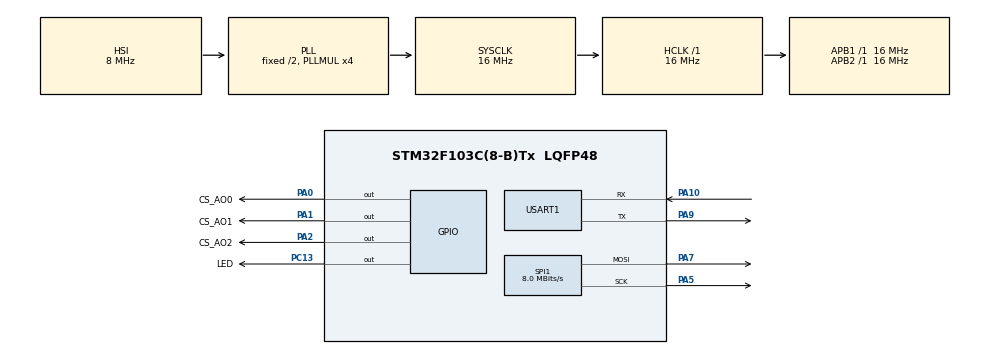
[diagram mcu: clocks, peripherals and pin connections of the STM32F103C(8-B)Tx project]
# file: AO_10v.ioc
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Mcu.Family=STM32F1
Mcu.Name=STM32F103C(8-B)Tx
Mcu.Package=LQFP48
NVIC.PriorityGroup=NVIC_PRIORITYGROUP_4
NVIC.USART1_IRQn=true\:0\:0\:false\:false\:true\:true\:true
PA0-WKUP.GPIO_Label=CS_AO0
PA0-WKUP.Signal=GPIO_Output
PA1.GPIO_Label=CS_AO1
PA1.Signal=GPIO_Output
PA10.Mode=Asynchronous
PA10.Signal=USART1_RX
PA13.Mode=Serial_Wire
PA13.Signal=SYS_JTMS-SWDIO
PA14.Mode=Serial_Wire
PA14.Signal=SYS_JTCK-SWCLK
PA2.GPIO_Label=CS_AO2
PA2.Signal=GPIO_Output
PA5.Mode=TX_Only_Simplex_Unidirect_Master
PA5.Signal=SPI1_SCK
PA7.Mode=TX_Only_Simplex_Unidirect_Master
PA7.Signal=SPI1_MOSI
PA9.Mode=Asynchronous
PA9.Signal=USART1_TX
PC13-TAMPER-RTC.GPIO_Label=LED
PC13-TAMPER-RTC.Signal=GPIO_Output
PD0-OSC_IN.Mode=HSE-External-Oscillator
PD0-OSC_IN.Signal=RCC_OSC_IN
PD1-OSC_OUT.Mode=HSE-External-Oscillator
PD1-OSC_OUT.Signal=RCC_OSC_OUT
ProjectManager.HeapSize=0x200
ProjectManager.StackSize=0x400
ProjectManager.TargetToolchain=Makefile
RCC.AHBFreq_Value=16000000
RCC.APB1Freq_Value=16000000
RCC.APB1TimFreq_Value=16000000
RCC.APB2Freq_Value=16000000
RCC.APB2TimFreq_Value=16000000
RCC.HCLKFreq_Value=16000000
RCC.PLLMUL=RCC_PLL_MUL4
RCC.SYSCLKFreq_VALUE=16000000
RCC.SYSCLKSource=RCC_SYSCLKSOURCE_PLLCLK
RCC.USBFreq_Value=16000000
SPI1.CalculateBaudRate=8.0 MBits/s
SPI1.DataSize=SPI_DATASIZE_16BIT
SPI1.Direction=SPI_DIRECTION_2LINES
SPI1.Mode=SPI_MODE_MASTER
SPI1.VirtualType=VM_MASTER
USART1.VirtualMode=VM_ASYNC
board=custom

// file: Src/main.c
/* USER CODE BEGIN Header */
/**
 ******************************************************************************
 * @file           : main.c
 * @brief          : Main program body
 ******************************************************************************
 * @attention
 *
 * Copyright (c) 2022 STMicroelectronics.
 * All rights reserved.
 *
 * This software is licensed under terms that can be found in the LICENSE file
 * in the root directory of this software component.
 * If no LICENSE file comes with this software, it is provided AS-IS.
 *
 ******************************************************************************
 */
/* USER CODE END Header */
#include "main.h"

#include "gpio.h"
#include "spi.h"
#include "usart.h"

/* USER CODE BEGIN Includes */
#include "console.h"
#include "dac.h"
#include "stdint.h"
#include "stdlib.h"
/* USER CODE END Includes */

/* USER CODE BEGIN PV */
uint8_t text[] =
    "This firmware control voltage on output DAC \n\
Settings: 115200 Baud, NL (new line) \n\
Channel names: ao0 ao1 ao2 \n\
Range output voltage: 0-10v \n\
Examples of commands: \n\
ao0 5.54 \n\
ao1 0 \n\
ao2 10 \n\
///////////////////END/////////////////////\n\n\
ao0 0\nao1 0\nao2 0\n";
/* USER CODE END PV */

/* Private function prototypes
   -----------------------------------------------*/
void SystemClock_Config(void);

/* USER CODE BEGIN 0 */
uint8_t buf[20] = {0};
uint8_t num_symbol = 0;

void HAL_UART_RxCpltCallback(UART_HandleTypeDef *huart) {
    if (buf[num_symbol] == '\n') {
        num_symbol = 0;
        if (buf_decode(buf, sizeof(buf)) == 0) {
            uint8_t x = 0;
            for (x; x < 20; x++) {
                if (buf[x] == '\n') {
                    x += 1;
                    break;
                }
            }
            HAL_UART_Transmit_IT(&huart1, buf, x);
            // HAL_UART_Transmit_IT(&huart1, "  ok\n", 5);
        } else
            HAL_UART_Transmit_IT(&huart1, "ERROR\n", 6);
    } else
        num_symbol++;

    if (num_symbol == 18) num_symbol = 0;

    HAL_UART_Receive_IT(&huart1, buf + num_symbol, 1);
}
/* USER CODE END 0 */

int main(void) {

    /* MCU
     * Configuration--------------------------------------------------------*/

    /* Reset of all peripherals, Initializes the Flash interface and the
     * Systick. */
    HAL_Init();

    /* Configure the system clock */
    SystemClock_Config();

    /* Initialize all configured peripherals */
    MX_GPIO_Init();
    MX_SPI1_Init();
    MX_USART1_UART_Init();
    /* USER CODE BEGIN 2 */
    HAL_GPIO_WritePin(LED_GPIO_Port, LED_Pin, GPIO_PIN_SET);

    /* USER CODE END 2 */
    HAL_UART_Transmit_IT(&huart1, text, sizeof(text));
    buf[19] = '\n';

    HAL_GPIO_WritePin(CS_AO0_GPIO_Port, CS_AO0_Pin, GPIO_PIN_SET);
    HAL_GPIO_WritePin(CS_AO1_GPIO_Port, CS_AO1_Pin, GPIO_PIN_SET);
    HAL_GPIO_WritePin(CS_AO2_GPIO_Port, CS_AO2_Pin, GPIO_PIN_SET);

    dac_set_voltage(0, 0);
    dac_set_voltage(1, 0);
    dac_set_voltage(2, 0);

    HAL_UART_Receive_IT(&huart1, buf + num_symbol, 1);
    /* Infinite loop */
    while (1) {
        //      HAL_UART_Transmit(&huart1, hui, 5, 1);
        HAL_Delay(300);
    }
}

void SystemClock_Config(void) {
    RCC_OscInitTypeDef RCC_OscInitStruct = {0};
    RCC_ClkInitTypeDef RCC_ClkInitStruct = {0};

    /** Initializes the RCC Oscillators according to the specified parameters
     * in the RCC_OscInitTypeDef structure.
     */
    RCC_OscInitStruct.OscillatorType = RCC_OSCILLATORTYPE_HSI;
    RCC_OscInitStruct.HSIState = RCC_HSI_ON;
    RCC_OscInitStruct.HSICalibrationValue = RCC_HSICALIBRATION_DEFAULT;
    RCC_OscInitStruct.PLL.PLLState = RCC_PLL_ON;
    RCC_OscInitStruct.PLL.PLLSource = RCC_PLLSOURCE_HSI_DIV2;
    RCC_OscInitStruct.PLL.PLLMUL = RCC_PLL_MUL4;
    if (HAL_RCC_OscConfig(&RCC_OscInitStruct) != HAL_OK) {
        Error_Handler();
    }
    /** Initializes the CPU, AHB and APB buses clocks
     */
    RCC_ClkInitStruct.ClockType = RCC_CLOCKTYPE_HCLK | RCC_CLOCKTYPE_SYSCLK |
                                  RCC_CLOCKTYPE_PCLK1 | RCC_CLOCKTYPE_PCLK2;
    RCC_ClkInitStruct.SYSCLKSource = RCC_SYSCLKSOURCE_PLLCLK;
    RCC_ClkInitStruct.AHBCLKDivider = RCC_SYSCLK_DIV1;
    RCC_ClkInitStruct.APB1CLKDivider = RCC_HCLK_DIV1;
    RCC_ClkInitStruct.APB2CLKDivider = RCC_HCLK_DIV1;

    if (HAL_RCC_ClockConfig(&RCC_ClkInitStruct, FLASH_LATENCY_0) != HAL_OK) {
        Error_Handler();
    }
}

void Error_Handler(void) {
    /* USER CODE BEGIN Error_Handler_Debug */
    /* User can add his own implementation to report the HAL error return state
     */
    __disable_irq();
    while (1) {
        HAL_GPIO_WritePin(LED_GPIO_Port, LED_Pin, GPIO_PIN_SET);
        HAL_Delay(400);
        HAL_GPIO_WritePin(LED_GPIO_Port, LED_Pin, GPIO_PIN_RESET);
        HAL_Delay(400);
    }
    /* USER CODE END Error_Handler_Debug */
}

#ifdef USE_FULL_ASSERT
/**
 * @brief  Reports the name of the source file and the source line number
 *         where the assert_param error has occurred.
 * @param  file: pointer to the source file name
 * @param  line: assert_param error line source number
 * @retval None
 */
void assert_failed(uint8_t *file, uint32_t line) {
    /* USER CODE BEGIN 6 */
    /* User can add his own implementation to report the file name and line
       number, ex: printf("Wrong parameters value: file %s on line %d\r\n",
       file, line) */
    /* USER CODE END 6 */
}
#endif /* USE_FULL_ASSERT */
